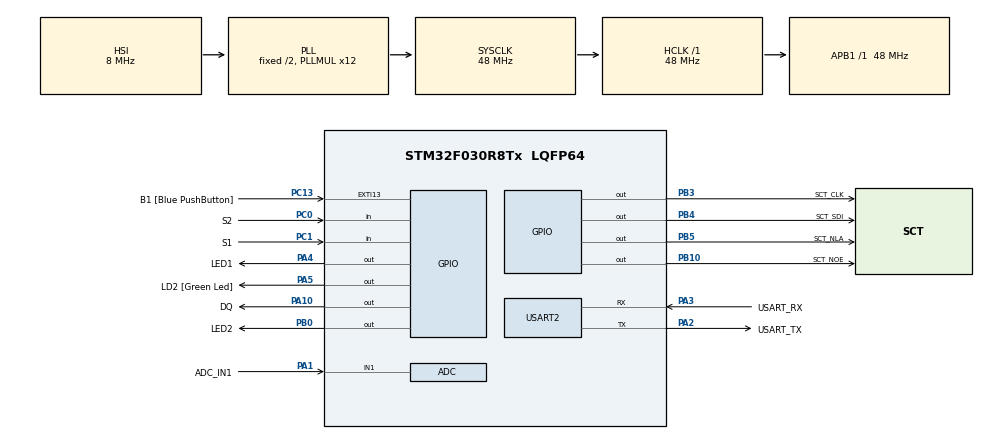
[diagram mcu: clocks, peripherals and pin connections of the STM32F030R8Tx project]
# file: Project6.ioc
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ADC.ContinuousConvMode=ENABLE
ADC.Overrun=ADC_OVR_DATA_OVERWRITTEN
ADC.Resolution=ADC_RESOLUTION_10B
Mcu.Family=STM32F0
Mcu.Name=STM32F030R8Tx
Mcu.Package=LQFP64
PA1.GPIO_Label=ADC_IN1 
PA1.Mode=IN1
PA1.Signal=ADC_IN1
PA10.GPIO_Label=DQ
PA10.PinState=GPIO_PIN_SET
PA10.Signal=GPIO_Output
PA13.GPIO_Label=TMS
PA13.Mode=Serial_Wire
PA13.Signal=SYS_SWDIO
PA14.GPIO_Label=TCK
PA14.Mode=Serial_Wire
PA14.Signal=SYS_SWCLK
PA2.GPIO_Label=USART_TX
PA2.GPIO_Mode=GPIO_MODE_AF_PP
PA2.GPIO_PuPd=GPIO_NOPULL
PA2.GPIO_Speed=GPIO_SPEED_FREQ_LOW
PA2.Mode=Asynchronous
PA2.Signal=USART2_TX
PA3.GPIO_Label=USART_RX
PA3.GPIO_Mode=GPIO_MODE_AF_PP
PA3.GPIO_PuPd=GPIO_NOPULL
PA3.GPIO_Speed=GPIO_SPEED_FREQ_LOW
PA3.Mode=Asynchronous
PA3.Signal=USART2_RX
PA4.GPIO_Label=LED1
PA4.Signal=GPIO_Output
PA5.GPIO_Label=LD2 [Green Led]
PA5.GPIO_Mode=GPIO_MODE_OUTPUT_PP
PA5.GPIO_PuPd=GPIO_NOPULL
PA5.GPIO_Speed=GPIO_SPEED_FREQ_LOW
PA5.Signal=GPIO_Output
PB0.GPIO_Label=LED2
PB0.Signal=GPIO_Output
PB10.GPIO_Label=SCT_NOE
PB10.Signal=GPIO_Output
PB3.GPIO_Label=SCT_CLK
PB3.Signal=GPIO_Output
PB4.GPIO_Label=SCT_SDI 
PB4.Signal=GPIO_Output
PB5.GPIO_Label=SCT_NLA
PB5.Signal=GPIO_Output
PC0.GPIO_Label=S2
PC0.GPIO_PuPd=GPIO_PULLUP
PC0.Signal=GPIO_Input
PC1.GPIO_Label=S1
PC1.GPIO_PuPd=GPIO_PULLUP
PC1.Signal=GPIO_Input
PC13.GPIO_Label=B1 [Blue PushButton]
PC13.GPIO_ModeDefaultEXTI=GPIO_MODE_IT_FALLING
PC13.Signal=GPXTI13
PC14-OSC32_IN.Mode=LSE-External-Oscillator
PC14-OSC32_IN.Signal=RCC_OSC32_IN
PC15-OSC32_OUT.Mode=LSE-External-Oscillator
PC15-OSC32_OUT.Signal=RCC_OSC32_OUT
PF0-OSC_IN.Mode=HSE-External-Clock-Source
PF0-OSC_IN.Signal=RCC_OSC_IN
PF1-OSC_OUT.Signal=RCC_OSC_OUT
ProjectManager.HeapSize=0x200
ProjectManager.StackSize=0x400
ProjectManager.TargetToolchain=STM32CubeIDE
RCC.AHBFreq_Value=48000000
RCC.APB1Freq_Value=48000000
RCC.APB1TimFreq_Value=48000000
RCC.HCLKFreq_Value=48000000
RCC.PLLMUL=RCC_PLL_MUL12
RCC.SYSCLKFreq_VALUE=48000000
RCC.SYSCLKSource=RCC_SYSCLKSOURCE_PLLCLK
USART2.VirtualMode-Asynchronous=VM_ASYNC
board=NUCLEO-F030R8

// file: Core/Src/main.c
/* USER CODE BEGIN Header */
/**
  ******************************************************************************
  * @file           : main.c
  * @brief          : Main program body
  ******************************************************************************
  * @attention
  *
  * Copyright (c) 2024 STMicroelectronics.
  * All rights reserved.
  *
  * This software is licensed under terms that can be found in the LICENSE file
  * in the root directory of this software component.
  * If no LICENSE file comes with this software, it is provided AS-IS.
  *
  ******************************************************************************
  */
/* USER CODE END Header */
#include "main.h"

/* USER CODE BEGIN Includes */
#include "1wire.h"
#include "sct.h"

/* USER CODE END Includes */

/* USER CODE BEGIN PD */
#define CONVERT_T_DELAY		(750)

/* USER CODE END PD */

ADC_HandleTypeDef hadc;

UART_HandleTypeDef huart2;

/* USER CODE BEGIN PV */
static const int16_t data[] ={
#include "data.dlm"
};

typedef enum {
    STATE_NTC,
    STATE_DS18B20
} DisplayState;

DisplayState currentState = STATE_NTC;  // Default state
uint32_t lastDS18B20Conversion = 0;  // Timestamp to track DS18B20 conversion delay

/* USER CODE END PV */

void SystemClock_Config(void);
static void MX_GPIO_Init(void);
static void MX_USART2_UART_Init(void);
static void MX_ADC_Init(void);

int main(void)
{

  /* MCU Configuration--------------------------------------------------------*/

  /* Reset of all peripherals, Initializes the Flash interface and the Systick. */
  HAL_Init();

  /* Configure the system clock */
  SystemClock_Config();

  /* Initialize all configured peripherals */
  MX_GPIO_Init();
  MX_USART2_UART_Init();
  MX_ADC_Init();
  /* USER CODE BEGIN 2 */

  OWInit();
  sct_init();

  HAL_ADCEx_Calibration_Start(&hadc);
  HAL_ADC_Start(&hadc);

  /* USER CODE END 2 */

  /* Infinite loop */
  /* USER CODE BEGIN WHILE */
  while (1)
  {

      // Update state based on button presses
      if (HAL_GPIO_ReadPin(GPIOC, S2_Pin) == GPIO_PIN_RESET) {
          currentState = STATE_NTC;
      }
      if (HAL_GPIO_ReadPin(GPIOC, S1_Pin) == GPIO_PIN_RESET) {
          currentState = STATE_DS18B20;
      }

      // Execute actions based on the current state
      if (currentState == STATE_NTC) {
          HAL_GPIO_WritePin(GPIOA, LED1_Pin, GPIO_PIN_SET);
          HAL_GPIO_WritePin(GPIOB, LED2_Pin, GPIO_PIN_RESET);

          // Display NTC (ADC) reading
          uint32_t adcValue = HAL_ADC_GetValue(&hadc);
          sct_value(data[adcValue]);
      }
      else if (currentState == STATE_DS18B20) {
          HAL_GPIO_WritePin(GPIOA, LED1_Pin, GPIO_PIN_RESET);
          HAL_GPIO_WritePin(GPIOB, LED2_Pin, GPIO_PIN_SET);

          // Check 750 ms delay for DS18B20
          if (HAL_GetTick() - lastDS18B20Conversion >= CONVERT_T_DELAY) {
              lastDS18B20Conversion = HAL_GetTick();

              // Convert and display DS18B20 temperature
              OWConvertAll();
              HAL_Delay(CONVERT_T_DELAY);
              int16_t temperature;
              if (OWReadTemperature(&temperature)) {
                  sct_value(temperature / 10);
              }
          }
      }

	 // OWConvertAll();
	 // HAL_Delay(CONVERT_T_DELAY);
	 // int16_t result;
	 // uint8_t status = OWReadTemperature(&result);

	 // if(status !=0){
		//  sct_value(result / 10);

	  }
    /* USER CODE END WHILE */

}

void SystemClock_Config(void)
{
  RCC_OscInitTypeDef RCC_OscInitStruct = {0};
  RCC_ClkInitTypeDef RCC_ClkInitStruct = {0};

  /** Initializes the RCC Oscillators according to the specified parameters
  * in the RCC_OscInitTypeDef structure.
  */
  RCC_OscInitStruct.OscillatorType = RCC_OSCILLATORTYPE_HSI|RCC_OSCILLATORTYPE_HSI14;
  RCC_OscInitStruct.HSIState = RCC_HSI_ON;
  RCC_OscInitStruct.HSI14State = RCC_HSI14_ON;
  RCC_OscInitStruct.HSICalibrationValue = RCC_HSICALIBRATION_DEFAULT;
  RCC_OscInitStruct.HSI14CalibrationValue = 16;
  RCC_OscInitStruct.PLL.PLLState = RCC_PLL_ON;
  RCC_OscInitStruct.PLL.PLLSource = RCC_PLLSOURCE_HSI;
  RCC_OscInitStruct.PLL.PLLMUL = RCC_PLL_MUL12;
  RCC_OscInitStruct.PLL.PREDIV = RCC_PREDIV_DIV1;
  if (HAL_RCC_OscConfig(&RCC_OscInitStruct) != HAL_OK)
  {
    Error_Handler();
  }

  /** Initializes the CPU, AHB and APB buses clocks
  */
  RCC_ClkInitStruct.ClockType = RCC_CLOCKTYPE_HCLK|RCC_CLOCKTYPE_SYSCLK
                              |RCC_CLOCKTYPE_PCLK1;
  RCC_ClkInitStruct.SYSCLKSource = RCC_SYSCLKSOURCE_PLLCLK;
  RCC_ClkInitStruct.AHBCLKDivider = RCC_SYSCLK_DIV1;
  RCC_ClkInitStruct.APB1CLKDivider = RCC_HCLK_DIV1;

  if (HAL_RCC_ClockConfig(&RCC_ClkInitStruct, FLASH_LATENCY_1) != HAL_OK)
  {
    Error_Handler();
  }
}

static void MX_ADC_Init(void)
{

  ADC_ChannelConfTypeDef sConfig = {0};

  /** Configure the global features of the ADC (Clock, Resolution, Data Alignment and number of conversion)
  */
  hadc.Instance = ADC1;
  hadc.Init.ClockPrescaler = ADC_CLOCK_ASYNC_DIV1;
  hadc.Init.Resolution = ADC_RESOLUTION_10B;
  hadc.Init.DataAlign = ADC_DATAALIGN_RIGHT;
  hadc.Init.ScanConvMode = ADC_SCAN_DIRECTION_FORWARD;
  hadc.Init.EOCSelection = ADC_EOC_SINGLE_CONV;
  hadc.Init.LowPowerAutoWait = DISABLE;
  hadc.Init.LowPowerAutoPowerOff = DISABLE;
  hadc.Init.ContinuousConvMode = ENABLE;
  hadc.Init.DiscontinuousConvMode = DISABLE;
  hadc.Init.ExternalTrigConv = ADC_SOFTWARE_START;
  hadc.Init.ExternalTrigConvEdge = ADC_EXTERNALTRIGCONVEDGE_NONE;
  hadc.Init.DMAContinuousRequests = DISABLE;
  hadc.Init.Overrun = ADC_OVR_DATA_OVERWRITTEN;
  if (HAL_ADC_Init(&hadc) != HAL_OK)
  {
    Error_Handler();
  }

  /** Configure for the selected ADC regular channel to be converted.
  */
  sConfig.Channel = ADC_CHANNEL_1;
  sConfig.Rank = ADC_RANK_CHANNEL_NUMBER;
  sConfig.SamplingTime = ADC_SAMPLETIME_1CYCLE_5;
  if (HAL_ADC_ConfigChannel(&hadc, &sConfig) != HAL_OK)
  {
    Error_Handler();
  }

}

static void MX_USART2_UART_Init(void)
{

  huart2.Instance = USART2;
  huart2.Init.BaudRate = 38400;
  huart2.Init.WordLength = UART_WORDLENGTH_8B;
  huart2.Init.StopBits = UART_STOPBITS_1;
  huart2.Init.Parity = UART_PARITY_NONE;
  huart2.Init.Mode = UART_MODE_TX_RX;
  huart2.Init.HwFlowCtl = UART_HWCONTROL_NONE;
  huart2.Init.OverSampling = UART_OVERSAMPLING_16;
  huart2.Init.OneBitSampling = UART_ONE_BIT_SAMPLE_DISABLE;
  huart2.AdvancedInit.AdvFeatureInit = UART_ADVFEATURE_NO_INIT;
  if (HAL_UART_Init(&huart2) != HAL_OK)
  {
    Error_Handler();
  }

}

static void MX_GPIO_Init(void)
{
  GPIO_InitTypeDef GPIO_InitStruct = {0};

  /* GPIO Ports Clock Enable */
  __HAL_RCC_GPIOC_CLK_ENABLE();
  __HAL_RCC_GPIOF_CLK_ENABLE();
  __HAL_RCC_GPIOA_CLK_ENABLE();
  __HAL_RCC_GPIOB_CLK_ENABLE();

  /*Configure GPIO pin Output Level */
  HAL_GPIO_WritePin(GPIOA, LED1_Pin|LD2_Pin, GPIO_PIN_RESET);

  /*Configure GPIO pin Output Level */
  HAL_GPIO_WritePin(GPIOB, LED2_Pin|SCT_NOE_Pin|SCT_CLK_Pin|SCT_SDI_Pin
                          |SCT_NLA_Pin, GPIO_PIN_RESET);

  /*Configure GPIO pin Output Level */
  HAL_GPIO_WritePin(DQ_GPIO_Port, DQ_Pin, GPIO_PIN_SET);

  /*Configure GPIO pin : B1_Pin */
  GPIO_InitStruct.Pin = B1_Pin;
  GPIO_InitStruct.Mode = GPIO_MODE_IT_FALLING;
  GPIO_InitStruct.Pull = GPIO_NOPULL;
  HAL_GPIO_Init(B1_GPIO_Port, &GPIO_InitStruct);

  /*Configure GPIO pins : S2_Pin S1_Pin */
  GPIO_InitStruct.Pin = S2_Pin|S1_Pin;
  GPIO_InitStruct.Mode = GPIO_MODE_INPUT;
  GPIO_InitStruct.Pull = GPIO_PULLUP;
  HAL_GPIO_Init(GPIOC, &GPIO_InitStruct);

  /*Configure GPIO pins : LED1_Pin LD2_Pin DQ_Pin */
  GPIO_InitStruct.Pin = LED1_Pin|LD2_Pin|DQ_Pin;
  GPIO_InitStruct.Mode = GPIO_MODE_OUTPUT_PP;
  GPIO_InitStruct.Pull = GPIO_NOPULL;
  GPIO_InitStruct.Speed = GPIO_SPEED_FREQ_LOW;
  HAL_GPIO_Init(GPIOA, &GPIO_InitStruct);

  /*Configure GPIO pins : LED2_Pin SCT_NOE_Pin SCT_CLK_Pin SCT_SDI_Pin
                           SCT_NLA_Pin */
  GPIO_InitStruct.Pin = LED2_Pin|SCT_NOE_Pin|SCT_CLK_Pin|SCT_SDI_Pin
                          |SCT_NLA_Pin;
  GPIO_InitStruct.Mode = GPIO_MODE_OUTPUT_PP;
  GPIO_InitStruct.Pull = GPIO_NOPULL;
  GPIO_InitStruct.Speed = GPIO_SPEED_FREQ_LOW;
  HAL_GPIO_Init(GPIOB, &GPIO_InitStruct);

}

void Error_Handler(void)
{
  __disable_irq();
  while (1)
  {
  }
}
